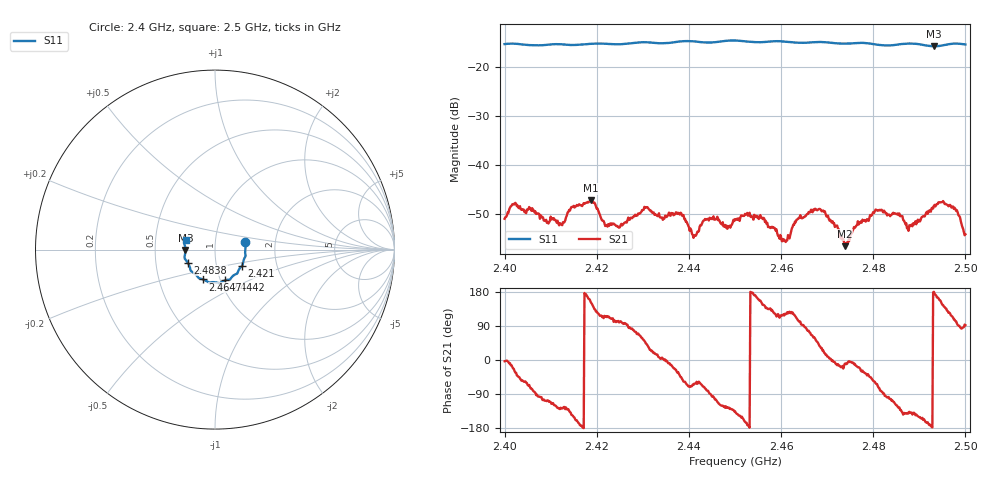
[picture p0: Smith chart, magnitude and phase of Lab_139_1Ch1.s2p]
# Hz S RI R 50
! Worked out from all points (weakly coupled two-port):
!   601 points, 2.4 GHz to 2.5 GHz, reference 50 ohm
!   highest |S21| = -47.32 dB at 2.4187 GHz (marker M1); lowest = -56.7 dB at 2.4738 GHz (marker M2)
!   lowest |S11| = -15.7 dB at 2.4932 GHz (marker M3), VSWR 1.40, Z = 35.8 - j0.116 ohm
!   |S11| at or under -10 dB: start of sweep to end of sweep
!   S12 and S22 are empty: the file has one direction only
!   S11 on the Smith chart (normalised r, x): 2.4 GHz: 1.40, +0.12; 2.421 GHz: 1.33, -0.24; 2.4442 GHz: 1.05, -0.37; 2.4647 GHz: 0.83, -0.28; 2.4838 GHz: 0.73, -0.11; 2.5 GHz: 0.71, +0.08
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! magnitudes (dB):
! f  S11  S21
! 2.4 GHz  -15.2  -51.1
! 2.4022 GHz  -15.1  -48.1
! 2.4123 GHz  -15.2  -52.3
! 2.4167 GHz  -15.3  -48.3
! 2.4187 GHz  -15.2  -47.3
! 2.421 GHz  -15.1  -51.1
! 2.4333 GHz  -15.0  -50.5
! 2.4383 GHz  -14.6  -49.9
! 2.4412 GHz  -14.6  -54.4
! 2.4442 GHz  -14.9  -51.1
! 2.45 GHz  -14.5  -51.1
! 2.4558 GHz  -14.8  -50.8
! 2.4607 GHz  -14.7  -55.4
! 2.4647 GHz  -14.9  -50.9
! 2.4667 GHz  -14.8  -49.4
! 2.4738 GHz  -15.1  -56.7
! 2.4833 GHz  -15.5  -50.3
! 2.4838 GHz  -15.5  -50.3
! 2.4878 GHz  -15.1  -52.4
! 2.4932 GHz  -15.7  -48.4
! 2.4977 GHz  -15.1  -48.8
! 2.5 GHz  -15.3  -54.3
